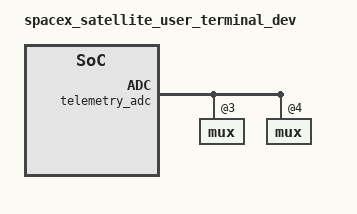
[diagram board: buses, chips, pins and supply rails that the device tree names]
/*
 * Copyright (C) 2018 STMicroelectronics (R&D) Limited.
 * Author: Nicolas Toromanoff <nicolas.toromanoff@st.com>
 *
 * This program is free software; you can redistribute it and/or modify
 * it under the terms of the GNU General Public License version 2 as
 * published by the Free Software Foundation.
 */

/dts-v1/;
#include "spacex_satellite_uterm_cut2.dtsi"
#include "spacex_dev_catson_utdev_rf.dtsi"

/ {
	model = "spacex_satellite_user_terminal_dev";

	gpios {
		/*
		 * IO for compatibility with the real UT. These are NC on the
		 * utdev board.
		 */
		ant_power     = <&pio12 0 0>;
		cady_power    = <&pio12 1 0>;
		cady_v1p8_up  = <&pio12 4 0>;

		/*
		 * Since spi2 is already taken up by the up/dn converters, use the
		 * default spi2 pins as spares.
		 */
		cady_v2p2_up  = <&pio21 0 0>;
		dbf_reset     = <&pio21 1 0>;
		gps_boot      = <&pio21 2 0>;

		self_reset    = <&pio11 4 0>;
		wifi_reset    = <&pio11 5 0>;

		/* These IO actually exist on the utdev board. */
		gps_reset     = <&pio11 7 0>;
	};

	chosen {
		ethprime = "pp_l3_gmac";
	};

	soc {
		ethernet1: dwmac@16800000 {
			disable-pcs;

			/delete-property/ fixed-link;

			/* Enable and configure MDIO */
			pinctrl-0 = <&pinctrl_mdio1_2pin>;
			pinctrl-names = "default";
			snps,phy-bus-name = "stmmac";
			snps,phy-bus-id = <0>;
			snps,phy-addr = <0x00>;

			/* Configure PHY for SGMII */
			phy-mode = "sgmii";
		};

		/*
		 * ePHY LEDs.
		 */
		ephy: ephy@16702100 {
			pinctrl-names = "default";
			pinctrl-0 = <&ephy_led_alt>;
		};

		/*
		 * The telemetry_adc exposed here does not represent physically useful
		 * sensor data. It's only included here to be a better match with the
		 * real UT platform. The PIO selected for muxing here are set to
		 * unconnected Catson pins so there's no risk of double-driving pins.
		 */
		telemetry_adc: sti_adc@8900000 {
			status = "okay";

			vref-external = <1800>; /* 1.8v external reference */
			use-external = <0 0 0 1 1 0 0 0>; /* Chan 3-4 use external */

			/* These are unused on utdev. */
			mux-gpio = <&pio12 5 0>,
					<&pio12 6 0>,
					<&pio12 7 0>;

			mux@3 {
				input-channel = <3>;
				vchan-count = <8>;
			};
			mux@4 {
				input-channel = <4>;
				vchan-count = <8>;
			};
		};
	};
};
